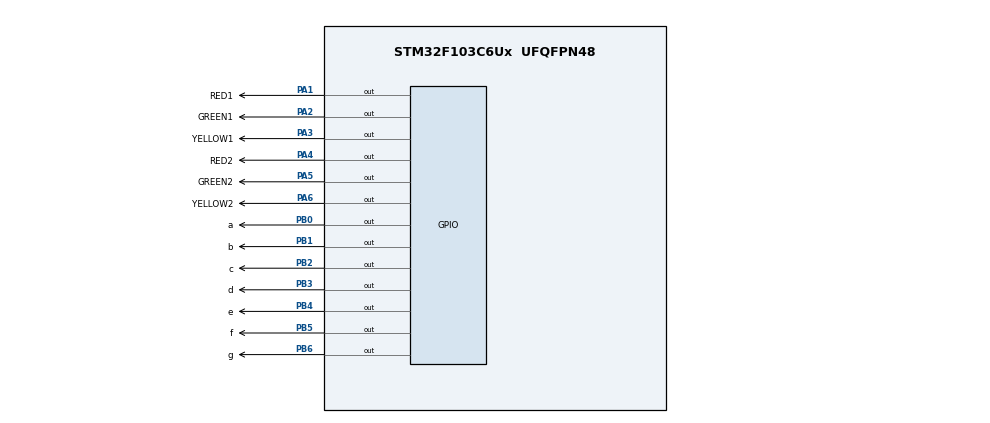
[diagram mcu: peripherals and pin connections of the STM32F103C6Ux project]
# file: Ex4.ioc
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Mcu.Family=STM32F1
Mcu.Name=STM32F103C6Ux
Mcu.Package=UFQFPN48
NVIC.PriorityGroup=NVIC_PRIORITYGROUP_4
PA1.GPIO_Label=RED1
PA1.GPIO_ModeDefaultOutputPP=GPIO_MODE_OUTPUT_PP
PA1.Signal=GPIO_Output
PA2.GPIO_Label=GREEN1
PA2.Signal=GPIO_Output
PA3.GPIO_Label=YELLOW1
PA3.Signal=GPIO_Output
PA4.GPIO_Label=RED2
PA4.Signal=GPIO_Output
PA5.GPIO_Label=GREEN2
PA5.Signal=GPIO_Output
PA6.GPIO_Label=YELLOW2
PA6.Signal=GPIO_Output
PB0.GPIO_Label=a
PB0.Signal=GPIO_Output
PB1.GPIO_Label=b
PB1.Signal=GPIO_Output
PB2.GPIO_Label=c
PB2.Signal=GPIO_Output
PB3.GPIO_Label=d
PB3.Signal=GPIO_Output
PB4.GPIO_Label=e
PB4.Signal=GPIO_Output
PB5.GPIO_Label=f
PB5.Signal=GPIO_Output
PB6.GPIO_Label=g
PB6.Signal=GPIO_Output
ProjectManager.HeapSize=0x200
ProjectManager.StackSize=0x400
ProjectManager.TargetToolchain=STM32CubeIDE
RCC.APB1Freq_Value=8000000
RCC.APB2Freq_Value=8000000
VP_SYS_VS_ND.Mode=No_Debug
board=custom

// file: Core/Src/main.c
/* USER CODE BEGIN Header */
/**
  ******************************************************************************
  * @file           : main.c
  * @brief          : Main program body
  ******************************************************************************
  * @attention
  *
  * <h2><center>&copy; Copyright (c) 2023 STMicroelectronics.
  * All rights reserved.</center></h2>
  *
  * This software component is licensed by ST under BSD 3-Clause license,
  * the "License"; You may not use this file except in compliance with the
  * License. You may obtain a copy of the License at:
  *                        opensource.org/licenses/BSD-3-Clause
  *
  ******************************************************************************
  */
/* USER CODE END Header */
#include "main.h"

void SystemClock_Config(void);
static void MX_GPIO_Init(void);

/* USER CODE BEGIN 0 */
void display7SEG(int num){
	int a=0, b=0, c=0, d=0, e=0, f=0, g=0;
	switch(num){
	case 0:
		a = 0; b = 0; c = 0; d = 0; e = 0; f = 0; g = 1;
		break;
	case 1:
		a = 1; b = 0; c = 0; d = 1; e = 1; f = 1; g = 1;
		break;
	case 2:
		a = 0; b = 0; c = 1; d = 0; e = 0; f = 1; g = 0;
		break;
	case 3:
		a = 0; b = 0; c = 0; d = 0; e = 1; f = 1; g = 0;
		break;
	case 4:
		a = 1; b = 0; c = 0; d = 1; e = 1; f = 0; g = 0;
		break;
	case 5:
		a = 0; b = 1; c = 0; d = 0; e = 1; f = 0; g = 0;
		break;
	case 6:
		a = 0; b = 1; c = 0; d = 0; e = 0; f = 0; g = 0;
		break;
	case 7:
		a = 0; b = 0; c = 0; d = 1; e = 1; f = 1; g = 1;
		break;
	case 8:
		a = 0; b = 0; c = 0; d = 0; e = 0; f = 0; g = 0;
		break;
	case 9:
		a = 0; b = 0; c = 0; d = 0; e = 1; f = 0; g = 0;
		break;
	default:
		a = 1; b = 1; c = 1; d = 1; e = 1; f = 1; g = 0;
		break;
	}
	HAL_GPIO_WritePin(a_GPIO_Port, a_Pin, a);
	HAL_GPIO_WritePin(b_GPIO_Port, b_Pin, b);
	HAL_GPIO_WritePin(c_GPIO_Port, c_Pin, c);
	HAL_GPIO_WritePin(d_GPIO_Port, d_Pin, d);
	HAL_GPIO_WritePin(e_GPIO_Port, e_Pin, e);
	HAL_GPIO_WritePin(f_GPIO_Port, f_Pin, f);
	HAL_GPIO_WritePin(g_GPIO_Port, g_Pin, g);
}
/* USER CODE END 0 */

int main(void)
{

  /* MCU Configuration--------------------------------------------------------*/

  /* Reset of all peripherals, Initializes the Flash interface and the Systick. */
  HAL_Init();

  /* Configure the system clock */
  SystemClock_Config();

  /* Initialize all configured peripherals */
  MX_GPIO_Init();

  /* Infinite loop */
  /* USER CODE BEGIN WHILE */
  int counter = 0;
  while (1)
  {
	  if(counter>=10) counter = 0;
	  display7SEG(counter++);
	  HAL_Delay(1000);
    /* USER CODE END WHILE */

  }
}

void SystemClock_Config(void)
{
  RCC_OscInitTypeDef RCC_OscInitStruct = {0};
  RCC_ClkInitTypeDef RCC_ClkInitStruct = {0};

  /** Initializes the RCC Oscillators according to the specified parameters
  * in the RCC_OscInitTypeDef structure.
  */
  RCC_OscInitStruct.OscillatorType = RCC_OSCILLATORTYPE_HSI;
  RCC_OscInitStruct.HSIState = RCC_HSI_ON;
  RCC_OscInitStruct.HSICalibrationValue = RCC_HSICALIBRATION_DEFAULT;
  RCC_OscInitStruct.PLL.PLLState = RCC_PLL_NONE;
  if (HAL_RCC_OscConfig(&RCC_OscInitStruct) != HAL_OK)
  {
    Error_Handler();
  }
  /** Initializes the CPU, AHB and APB buses clocks
  */
  RCC_ClkInitStruct.ClockType = RCC_CLOCKTYPE_HCLK|RCC_CLOCKTYPE_SYSCLK
                              |RCC_CLOCKTYPE_PCLK1|RCC_CLOCKTYPE_PCLK2;
  RCC_ClkInitStruct.SYSCLKSource = RCC_SYSCLKSOURCE_HSI;
  RCC_ClkInitStruct.AHBCLKDivider = RCC_SYSCLK_DIV1;
  RCC_ClkInitStruct.APB1CLKDivider = RCC_HCLK_DIV1;
  RCC_ClkInitStruct.APB2CLKDivider = RCC_HCLK_DIV1;

  if (HAL_RCC_ClockConfig(&RCC_ClkInitStruct, FLASH_LATENCY_0) != HAL_OK)
  {
    Error_Handler();
  }
}

static void MX_GPIO_Init(void)
{
  GPIO_InitTypeDef GPIO_InitStruct = {0};

  /* GPIO Ports Clock Enable */
  __HAL_RCC_GPIOA_CLK_ENABLE();
  __HAL_RCC_GPIOB_CLK_ENABLE();

  /*Configure GPIO pin Output Level */
  HAL_GPIO_WritePin(GPIOA, RED1_Pin|GREEN1_Pin|YELLOW1_Pin|RED2_Pin
                          |GREEN2_Pin|YELLOW2_Pin, GPIO_PIN_RESET);

  /*Configure GPIO pin Output Level */
  HAL_GPIO_WritePin(GPIOB, a_Pin|b_Pin|c_Pin|d_Pin
                          |e_Pin|f_Pin|g_Pin, GPIO_PIN_RESET);

  /*Configure GPIO pins : RED1_Pin GREEN1_Pin YELLOW1_Pin RED2_Pin
                           GREEN2_Pin YELLOW2_Pin */
  GPIO_InitStruct.Pin = RED1_Pin|GREEN1_Pin|YELLOW1_Pin|RED2_Pin
                          |GREEN2_Pin|YELLOW2_Pin;
  GPIO_InitStruct.Mode = GPIO_MODE_OUTPUT_PP;
  GPIO_InitStruct.Pull = GPIO_NOPULL;
  GPIO_InitStruct.Speed = GPIO_SPEED_FREQ_LOW;
  HAL_GPIO_Init(GPIOA, &GPIO_InitStruct);

  /*Configure GPIO pins : a_Pin b_Pin c_Pin d_Pin
                           e_Pin f_Pin g_Pin */
  GPIO_InitStruct.Pin = a_Pin|b_Pin|c_Pin|d_Pin
                          |e_Pin|f_Pin|g_Pin;
  GPIO_InitStruct.Mode = GPIO_MODE_OUTPUT_PP;
  GPIO_InitStruct.Pull = GPIO_NOPULL;
  GPIO_InitStruct.Speed = GPIO_SPEED_FREQ_LOW;
  HAL_GPIO_Init(GPIOB, &GPIO_InitStruct);

}

void Error_Handler(void)
{
  __disable_irq();
  while (1)
  {
  }
}

/************************ (C) COPYRIGHT STMicroelectronics *****END OF FILE****/
